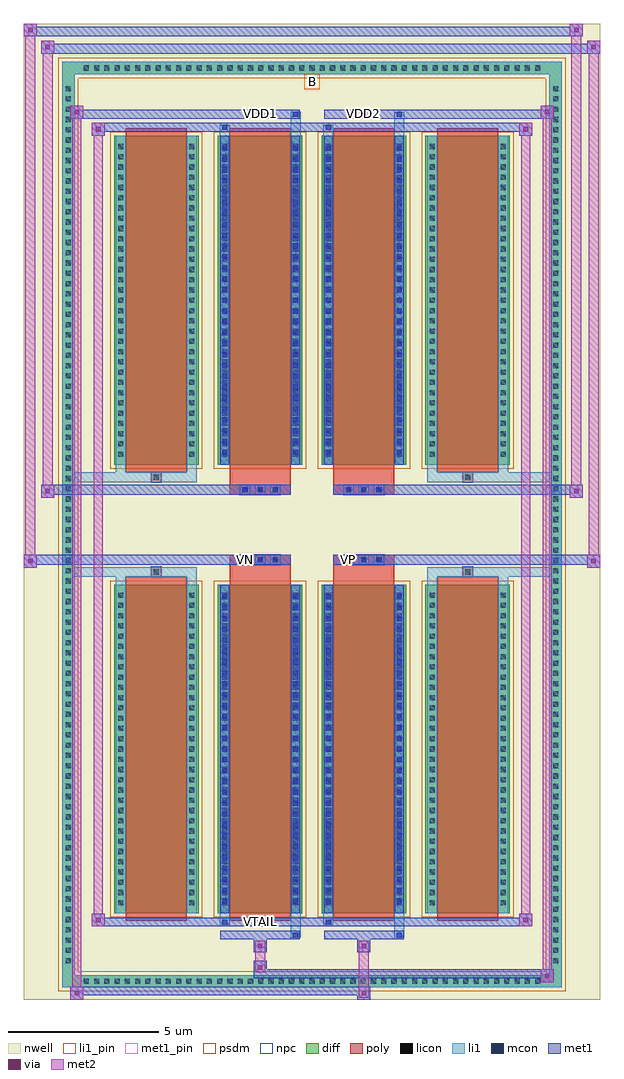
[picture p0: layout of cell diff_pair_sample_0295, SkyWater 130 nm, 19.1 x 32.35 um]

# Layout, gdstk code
import gdstk
lib = gdstk.Library(unit=1e-6, precision=5e-09)
def R(c, l, rs):  # rectangles x0, y0, x1, y1
    for r in rs: c.add(gdstk.rectangle(r[:2], r[2:], *l))
def A(c, l, x, y, w, h, nx, ny, dx, dy):  # array of equal rectangles
    R(c, l, [(x+i*dx, y+j*dy, x+i*dx+w, y+j*dy+h) for i in range(nx) for j in range(ny)])
def P(c, l, *ps):  # polygons
    for p in ps: c.add(gdstk.Polygon(p, *l))
nwell = (64, 20)
diff = (65, 20)
poly = (66, 20)
licon = (66, 44)
li1_pin = (67, 16)
li1 = (67, 20)
mcon = (67, 44)
met1_pin = (68, 16)
met1 = (68, 20)
via = (68, 44)
met2 = (69, 20)
psdm = (94, 20)
npc = (95, 20)

diff_pair_sample_0295 = lib.new_cell('diff_pair_sample_0295')
R(diff_pair_sample_0295, nwell, [(-9.55,-15.74,9.55,16.61), (-6.87,-13.93,-0.01,-0.795), (0.01,-13.93,6.87,-0.795), (-6.87,0.795,-0.01,13.93), (0.01,0.795,6.87,13.93)])
A(diff_pair_sample_0295, diff, -7.685, -15.34, 0.41, 0.41, 45, 2, 0.34, 30.27)
A(diff_pair_sample_0295, diff, -8.28, -14.655, 0.41, 0.41, 1, 86, 0, 0.34)
A(diff_pair_sample_0295, diff, 7.87, -14.655, 0.41, 0.41, 1, 86, 0, 0.34)
A(diff_pair_sample_0295, diff, -6.56, -12.885, 2.8, 10.9, 4, 2, 3.44, 14.87)
R(diff_pair_sample_0295, diff, [(-7.685,-15.34,7.685,-14.93), (-8.28,-14.655,-7.87,14.655), (7.87,-14.655,8.28,14.655), (-7.685,14.93,7.685,15.34)])
P(diff_pair_sample_0295, diff, [(8.28,15.34),(-8.28,15.34),(-8.28,-14.93),(-7.87,-14.93),(-7.87,14.93),(7.87,14.93),(7.87,-14.93),(-7.87,-14.93),(-8.28,-14.93),(-8.28,-15.34),(8.28,-15.34)])
A(diff_pair_sample_0295, poly, -6.17, -13.135, 2.02, 11.4, 4, 2, 3.44, 14.87)
A(diff_pair_sample_0295, poly, -2.385, -1.325, 0.33, 0.33, 3, 2, 0.5, 2.32)
A(diff_pair_sample_0295, poly, 1.055, -1.325, 0.33, 0.33, 3, 2, 0.5, 2.32)
R(diff_pair_sample_0295, poly, [(-5.325,-1.735,-4.995,-1.405), (-5.325,-1.735,-4.995,-1.405), (-2.73,-1.735,-0.71,-1.325), (0.71,-1.735,2.73,-1.325), (4.995,-1.735,5.325,-1.405), (4.995,-1.735,5.325,-1.405), (-2.73,-1.325,-0.71,-0.995), (0.71,-1.325,2.73,-0.995), (-2.73,0.995,-0.71,1.325), (0.71,0.995,2.73,1.325), (-2.73,1.325,-0.71,1.735), (0.71,1.325,2.73,1.735), (-5.325,1.405,-4.995,1.735), (-5.325,1.405,-4.995,1.735), (4.995,1.405,5.325,1.735), (4.995,1.405,5.325,1.735)])
A(diff_pair_sample_0295, licon, -7.565, -15.22, 0.17, 0.17, 45, 2, 0.34, 30.27)
A(diff_pair_sample_0295, licon, -8.16, -14.535, 0.17, 0.17, 1, 86, 0, 0.34)
A(diff_pair_sample_0295, licon, 7.99, -14.535, 0.17, 0.17, 1, 86, 0, 0.34)
A(diff_pair_sample_0295, licon, -6.42, -12.62, 0.17, 0.17, 1, 31, 0, 0.34)
A(diff_pair_sample_0295, licon, -4.07, -12.62, 0.17, 0.17, 1, 31, 0, 0.34)
A(diff_pair_sample_0295, licon, -2.98, -12.62, 0.17, 0.17, 1, 31, 0, 0.34)
A(diff_pair_sample_0295, licon, -0.63, -12.62, 0.17, 0.17, 1, 31, 0, 0.34)
A(diff_pair_sample_0295, licon, 0.46, -12.62, 0.17, 0.17, 1, 31, 0, 0.34)
A(diff_pair_sample_0295, licon, 2.81, -12.62, 0.17, 0.17, 1, 31, 0, 0.34)
A(diff_pair_sample_0295, licon, 3.9, -12.62, 0.17, 0.17, 1, 31, 0, 0.34)
A(diff_pair_sample_0295, licon, 6.25, -12.62, 0.17, 0.17, 1, 31, 0, 0.34)
A(diff_pair_sample_0295, licon, -2.305, -1.245, 0.17, 0.17, 3, 2, 0.5, 2.32)
A(diff_pair_sample_0295, licon, 1.135, -1.245, 0.17, 0.17, 3, 2, 0.5, 2.32)
A(diff_pair_sample_0295, licon, -6.42, 2.25, 0.17, 0.17, 1, 31, 0, 0.34)
A(diff_pair_sample_0295, licon, -4.07, 2.25, 0.17, 0.17, 1, 31, 0, 0.34)
A(diff_pair_sample_0295, licon, -2.98, 2.25, 0.17, 0.17, 1, 31, 0, 0.34)
A(diff_pair_sample_0295, licon, -0.63, 2.25, 0.17, 0.17, 1, 31, 0, 0.34)
A(diff_pair_sample_0295, licon, 0.46, 2.25, 0.17, 0.17, 1, 31, 0, 0.34)
A(diff_pair_sample_0295, licon, 2.81, 2.25, 0.17, 0.17, 1, 31, 0, 0.34)
A(diff_pair_sample_0295, licon, 3.9, 2.25, 0.17, 0.17, 1, 31, 0, 0.34)
A(diff_pair_sample_0295, licon, 6.25, 2.25, 0.17, 0.17, 1, 31, 0, 0.34)
R(diff_pair_sample_0295, licon, [(-5.245,-1.655,-5.075,-1.485), (5.075,-1.655,5.245,-1.485), (-5.245,1.485,-5.075,1.655), (5.075,1.485,5.245,1.655)])
R(diff_pair_sample_0295, li1_pin, [(-0.25,14.43,0.25,14.93)])
A(diff_pair_sample_0295, li1, -7.645, -15.3, 0.33, 0.33, 45, 2, 0.34, 30.27)
A(diff_pair_sample_0295, li1, -8.24, -14.615, 0.33, 0.33, 1, 86, 0, 0.34)
A(diff_pair_sample_0295, li1, 7.91, -14.615, 0.33, 0.33, 1, 86, 0, 0.34)
A(diff_pair_sample_0295, li1, -6.5, -12.7, 0.33, 0.33, 1, 31, 0, 0.34)
A(diff_pair_sample_0295, li1, -4.15, -12.7, 0.33, 0.33, 1, 31, 0, 0.34)
A(diff_pair_sample_0295, li1, -3.06, -12.7, 0.33, 0.33, 1, 31, 0, 0.34)
A(diff_pair_sample_0295, li1, -0.71, -12.7, 0.33, 0.33, 1, 31, 0, 0.34)
A(diff_pair_sample_0295, li1, 0.38, -12.7, 0.33, 0.33, 1, 31, 0, 0.34)
A(diff_pair_sample_0295, li1, 2.73, -12.7, 0.33, 0.33, 1, 31, 0, 0.34)
A(diff_pair_sample_0295, li1, 3.82, -12.7, 0.33, 0.33, 1, 31, 0, 0.34)
A(diff_pair_sample_0295, li1, 6.17, -12.7, 0.33, 0.33, 1, 31, 0, 0.34)
A(diff_pair_sample_0295, li1, -2.98, -12.56, 0.17, 0.17, 1, 29, 0, 0.36)
A(diff_pair_sample_0295, li1, -0.63, -12.56, 0.17, 0.17, 1, 29, 0, 0.36)
A(diff_pair_sample_0295, li1, 0.46, -12.56, 0.17, 0.17, 1, 29, 0, 0.36)
A(diff_pair_sample_0295, li1, 2.81, -12.56, 0.17, 0.17, 1, 29, 0, 0.36)
A(diff_pair_sample_0295, li1, -2.385, -1.325, 0.33, 0.33, 3, 2, 0.5, 2.32)
A(diff_pair_sample_0295, li1, 1.055, -1.325, 0.33, 0.33, 3, 2, 0.5, 2.32)
A(diff_pair_sample_0295, li1, -6.5, 2.17, 0.33, 0.33, 1, 31, 0, 0.34)
A(diff_pair_sample_0295, li1, -4.15, 2.17, 0.33, 0.33, 1, 31, 0, 0.34)
A(diff_pair_sample_0295, li1, -3.06, 2.17, 0.33, 0.33, 1, 31, 0, 0.34)
A(diff_pair_sample_0295, li1, -0.71, 2.17, 0.33, 0.33, 1, 31, 0, 0.34)
A(diff_pair_sample_0295, li1, 0.38, 2.17, 0.33, 0.33, 1, 31, 0, 0.34)
A(diff_pair_sample_0295, li1, 2.73, 2.17, 0.33, 0.33, 1, 31, 0, 0.34)
A(diff_pair_sample_0295, li1, 3.82, 2.17, 0.33, 0.33, 1, 31, 0, 0.34)
A(diff_pair_sample_0295, li1, 6.17, 2.17, 0.33, 0.33, 1, 31, 0, 0.34)
A(diff_pair_sample_0295, li1, -2.98, 2.31, 0.17, 0.17, 1, 29, 0, 0.36)
A(diff_pair_sample_0295, li1, -0.63, 2.31, 0.17, 0.17, 1, 29, 0, 0.36)
A(diff_pair_sample_0295, li1, 0.46, 2.31, 0.17, 0.17, 1, 29, 0, 0.36)
A(diff_pair_sample_0295, li1, 2.81, 2.31, 0.17, 0.17, 1, 29, 0, 0.36)
R(diff_pair_sample_0295, li1, [(-8.28,-15.34,-7.87,-14.93), (-8.28,-15.34,-7.87,-14.93), (-7.87,-15.34,7.87,-14.93), (7.87,-15.34,8.28,-14.93), (7.87,-15.34,8.28,-14.93), (-8.28,-14.93,-7.87,14.93), (7.87,-14.93,8.28,14.93), (-0.71,-13.69,-0.38,-12.885), (-0.63,-13.69,-0.46,-13.52), (2.73,-13.69,3.06,-12.885), (2.81,-13.69,2.98,-13.52), (-3.06,-13.26,-2.73,-12.885), (-2.98,-13.26,-2.81,-13.09), (0.38,-13.26,0.71,-12.885), (0.46,-13.26,0.63,-13.09), (-6.5,-12.885,-6.17,-1.985), (-4.15,-12.885,-3.82,-1.985), (-3.06,-12.885,-2.73,-1.985), (-0.71,-12.885,-0.38,-1.985), (0.38,-12.885,0.71,-1.985), (2.73,-12.885,3.06,-1.985), (3.82,-12.885,4.15,-1.985), (6.17,-12.885,6.5,-1.985), (-2.98,-12.56,-2.81,-2.31), (-0.63,-12.56,-0.46,-2.31), (0.46,-12.56,0.63,-2.31), (2.81,-12.56,2.98,-2.31), (-6.5,-1.985,-6.17,-1.405), (-4.15,-1.985,-3.82,-1.405), (3.82,-1.985,4.15,-1.405), (6.17,-1.985,6.5,-1.405), (-8.28,-1.735,-5.325,-1.405), (-6.5,-1.735,-5.325,-1.405), (-5.325,-1.735,-4.995,-1.405), (-4.995,-1.735,-3.82,-1.405), (3.82,-1.735,4.995,-1.405), (4.995,-1.735,5.325,-1.405), (4.995,-1.735,8.28,-1.405), (5.325,-1.735,6.5,-1.405), (-8.28,1.405,-5.325,1.735), (-6.5,1.405,-5.325,1.735), (-6.5,1.405,-6.17,1.985), (-5.325,1.405,-4.995,1.735), (-4.995,1.405,-3.82,1.735), (-4.15,1.405,-3.82,1.985), (3.82,1.405,4.995,1.735), (3.82,1.405,4.15,1.985), (4.995,1.405,5.325,1.735), (4.995,1.405,8.28,1.735), (5.325,1.405,6.5,1.735), (6.17,1.405,6.5,1.985), (-6.5,1.985,-6.17,12.885), (-4.15,1.985,-3.82,12.885), (-3.06,1.985,-2.73,12.885), (-0.71,1.985,-0.38,12.885), (0.38,1.985,0.71,12.885), (2.73,1.985,3.06,12.885), (3.82,1.985,4.15,12.885), (6.17,1.985,6.5,12.885), (-2.98,2.31,-2.81,12.56), (-0.63,2.31,-0.46,12.56), (0.46,2.31,0.63,12.56), (2.81,2.31,2.98,12.56), (-3.06,12.885,-2.73,13.26), (-0.71,12.885,-0.38,13.69), (0.38,12.885,0.71,13.26), (2.73,12.885,3.06,13.69), (-2.98,13.09,-2.81,13.26), (0.46,13.09,0.63,13.26), (-0.63,13.52,-0.46,13.69), (2.81,13.52,2.98,13.69), (-8.28,14.93,-7.87,15.34), (-8.28,14.93,-7.87,15.34), (-7.87,14.93,7.87,15.34), (7.87,14.93,8.28,15.34), (7.87,14.93,8.28,15.34)])
A(diff_pair_sample_0295, mcon, -2.98, -12.56, 0.17, 0.17, 1, 29, 0, 0.36)
A(diff_pair_sample_0295, mcon, -0.63, -12.56, 0.17, 0.17, 1, 29, 0, 0.36)
A(diff_pair_sample_0295, mcon, 0.46, -12.56, 0.17, 0.17, 1, 29, 0, 0.36)
A(diff_pair_sample_0295, mcon, 2.81, -12.56, 0.17, 0.17, 1, 29, 0, 0.36)
A(diff_pair_sample_0295, mcon, -2.305, -1.245, 0.17, 0.17, 3, 2, 0.5, 2.32)
A(diff_pair_sample_0295, mcon, 1.135, -1.245, 0.17, 0.17, 3, 2, 0.5, 2.32)
A(diff_pair_sample_0295, mcon, -2.98, 2.31, 0.17, 0.17, 1, 29, 0, 0.36)
A(diff_pair_sample_0295, mcon, -0.63, 2.31, 0.17, 0.17, 1, 29, 0, 0.36)
A(diff_pair_sample_0295, mcon, 0.46, 2.31, 0.17, 0.17, 1, 29, 0, 0.36)
A(diff_pair_sample_0295, mcon, 2.81, 2.31, 0.17, 0.17, 1, 29, 0, 0.36)
R(diff_pair_sample_0295, mcon, [(-0.63,-13.69,-0.46,-13.52), (2.81,-13.69,2.98,-13.52), (-2.98,-13.26,-2.81,-13.09), (0.46,-13.26,0.63,-13.09), (-2.98,13.09,-2.81,13.26), (0.46,13.09,0.63,13.26), (-0.63,13.52,-0.46,13.69), (2.81,13.52,2.98,13.69)])
R(diff_pair_sample_0295, met1_pin, [(-1.855,-13.3,-1.585,-13.03), (-2.355,-1.285,-2.085,-1.015), (1.085,-1.285,1.355,-1.015), (-1.855,13.48,-1.585,13.75), (1.585,13.48,1.855,13.75)])
A(diff_pair_sample_0295, met1, -3.04, -12.62, 0.29, 0.29, 1, 29, 0, 0.36)
A(diff_pair_sample_0295, met1, -0.69, -12.62, 0.29, 0.29, 1, 29, 0, 0.36)
A(diff_pair_sample_0295, met1, 0.4, -12.62, 0.29, 0.29, 1, 29, 0, 0.36)
A(diff_pair_sample_0295, met1, 2.75, -12.62, 0.29, 0.29, 1, 29, 0, 0.36)
A(diff_pair_sample_0295, met1, -2.365, -1.305, 0.29, 0.29, 3, 2, 0.5, 2.32)
A(diff_pair_sample_0295, met1, 1.075, -1.305, 0.29, 0.29, 3, 2, 0.5, 2.32)
A(diff_pair_sample_0295, met1, -3.04, 2.25, 0.29, 0.29, 1, 29, 0, 0.36)
A(diff_pair_sample_0295, met1, -0.69, 2.25, 0.29, 0.29, 1, 29, 0, 0.36)
A(diff_pair_sample_0295, met1, 0.4, 2.25, 0.29, 0.29, 1, 29, 0, 0.36)
A(diff_pair_sample_0295, met1, 2.75, 2.25, 0.29, 0.29, 1, 29, 0, 0.36)
R(diff_pair_sample_0295, met1, [(-8.01,-15.74,-7.58,-15.31), (1.505,-15.74,1.935,-15.31), (-8.01,-15.6,1.935,-15.31), (7.58,-15.17,8.01,-14.74), (-1.935,-15.03,8.01,-14.74), (-1.935,-14.89,-1.505,-14.46), (-1.935,-14.18,-1.505,-13.75), (1.505,-14.18,1.935,-13.75), (-3.04,-13.75,-0.4,-13.46), (-0.69,-13.75,-0.4,-13.46), (0.4,-13.75,3.04,-13.46), (2.75,-13.75,3.04,-13.46), (-7.3,-13.32,-6.87,-12.89), (-7.3,-13.32,-3.04,-13.03), (-3.04,-13.32,-2.75,-13.03), (-3.04,-13.32,-0.4,-13.03), (-0.4,-13.32,0.4,-13.03), (0.4,-13.32,0.69,-13.03), (0.4,-13.32,3.04,-13.03), (3.04,-13.32,7.3,-13.03), (6.87,-13.32,7.3,-12.89), (-3.04,-12.885,-2.75,-1.985), (-0.69,-12.885,-0.4,-1.985), (0.4,-12.885,0.69,-1.985), (2.75,-12.885,3.04,-1.985), (-9.55,-1.425,-9.12,-0.995), (9.12,-1.425,9.55,-0.995), (-9.55,-1.325,-0.71,-0.995), (-2.73,-1.325,-0.71,-0.995), (0.71,-1.325,2.73,-0.995), (0.71,-1.325,9.55,-0.995), (-8.98,0.895,-8.55,1.325), (8.55,0.895,8.98,1.325), (-8.98,0.995,-2.73,1.325), (-2.73,0.995,-0.71,1.325), (0.71,0.995,2.73,1.325), (2.73,0.995,8.98,1.325), (-3.04,1.985,-2.75,12.885), (-0.69,1.985,-0.4,12.885), (0.4,1.985,0.69,12.885), (2.75,1.985,3.04,12.885), (-7.3,12.89,-6.87,13.32), (6.87,12.89,7.3,13.32), (-7.3,13.03,-3.04,13.32), (-3.04,13.03,-2.75,13.32), (-3.04,13.03,-0.4,13.32), (-0.4,13.03,0.4,13.32), (0.4,13.03,0.69,13.32), (0.4,13.03,3.04,13.32), (3.04,13.03,7.3,13.32), (-8.01,13.46,-7.58,13.89), (-8.01,13.46,-3.04,13.75), (-3.04,13.46,-0.4,13.75), (-0.69,13.46,-0.4,13.75), (0.4,13.46,3.04,13.75), (2.75,13.46,3.04,13.75), (3.04,13.46,8.01,13.75), (7.58,13.46,8.01,13.89), (-8.98,15.61,-8.55,16.04), (-8.98,15.61,-6.87,15.94), (-6.87,15.61,6.87,15.94), (6.87,15.61,9.55,15.94), (9.12,15.61,9.55,16.04), (-9.55,16.18,-9.12,16.61), (-9.55,16.18,-6.87,16.51), (-6.87,16.18,6.87,16.51), (6.87,16.18,8.98,16.51), (8.55,16.18,8.98,16.61)])
R(diff_pair_sample_0295, via, [(-7.87,-15.6,-7.72,-15.45), (1.645,-15.6,1.795,-15.45), (7.72,-15.03,7.87,-14.88), (-1.795,-14.75,-1.645,-14.6), (-1.795,-14.04,-1.645,-13.89), (1.645,-14.04,1.795,-13.89), (-7.16,-13.18,-7.01,-13.03), (7.01,-13.18,7.16,-13.03), (-9.41,-1.285,-9.26,-1.135), (9.26,-1.285,9.41,-1.135), (-8.84,1.035,-8.69,1.185), (8.69,1.035,8.84,1.185), (-7.16,13.03,-7.01,13.18), (7.01,13.03,7.16,13.18), (-7.87,13.6,-7.72,13.75), (7.72,13.6,7.87,13.75), (-8.84,15.75,-8.69,15.9), (9.26,15.75,9.41,15.9), (-9.41,16.32,-9.26,16.47), (8.69,16.32,8.84,16.47)])
R(diff_pair_sample_0295, met2, [(-8.01,-15.74,-7.58,-15.31), (-7.94,-15.74,-7.65,13.89), (-7.65,-15.74,-7.58,-15.31), (-7.96,-15.69,-7.63,-15.36), (1.555,-15.69,1.885,-15.36), (1.555,-15.36,1.885,-14.13), (7.58,-15.17,8.01,-14.74), (7.65,-15.17,7.94,13.89), (7.94,-15.17,8.01,-14.74), (7.63,-15.12,7.96,-14.79), (-1.885,-14.84,-1.555,-14.51), (-1.885,-14.51,-1.555,-14.13), (-1.885,-14.13,-1.555,-13.8), (1.555,-14.13,1.885,-13.8), (-7.3,-13.32,-6.87,-12.89), (-7.23,-13.32,-6.94,13.32), (-6.94,-13.32,-6.87,-12.89), (6.87,-13.32,7.3,-12.89), (6.94,-13.32,7.23,13.32), (7.23,-13.32,7.3,-12.89), (-7.25,-13.27,-6.92,-12.94), (6.92,-13.27,7.25,-12.94), (-9.55,-1.425,-9.12,-0.995), (-9.5,-1.425,-9.17,16.61), (-9.17,-1.425,-9.12,-0.995), (9.12,-1.425,9.55,-0.995), (9.17,-1.425,9.5,16.04), (9.5,-1.425,9.55,-0.995), (-9.5,-1.375,-9.17,-1.045), (9.17,-1.375,9.5,-1.045), (-8.98,0.895,-8.55,1.325), (-8.93,0.895,-8.6,16.04), (-8.6,0.895,-8.55,1.325), (8.55,0.895,8.98,1.325), (8.6,0.895,8.93,16.61), (8.93,0.895,8.98,1.325), (-8.93,0.945,-8.6,1.275), (8.6,0.945,8.93,1.275), (-7.3,12.89,-6.87,13.32), (-6.94,12.89,-6.87,13.32), (6.87,12.89,7.3,13.32), (7.23,12.89,7.3,13.32), (-7.25,12.94,-6.92,13.27), (6.92,12.94,7.25,13.27), (-8.01,13.46,-7.58,13.89), (-7.65,13.46,-7.58,13.89), (7.58,13.46,8.01,13.89), (7.94,13.46,8.01,13.89), (-7.96,13.51,-7.63,13.84), (7.63,13.51,7.96,13.84), (-8.98,15.61,-8.55,16.04), (-8.6,15.61,-8.55,16.04), (9.12,15.61,9.55,16.04), (9.5,15.61,9.55,16.04), (-8.93,15.66,-8.6,15.99), (9.17,15.66,9.5,15.99), (-9.55,16.18,-9.12,16.61), (-9.17,16.18,-9.12,16.61), (8.55,16.18,8.98,16.61), (8.93,16.18,8.98,16.61), (-9.5,16.23,-9.17,16.56), (8.6,16.23,8.93,16.56)])
A(diff_pair_sample_0295, psdm, -6.69, -13.015, 3.06, 11.16, 4, 2, 3.44, 14.87)
P(diff_pair_sample_0295, psdm, [(8.41,15.47),(-8.41,15.47),(-8.41,-14.8),(-7.74,-14.8),(-7.74,14.8),(7.74,14.8),(7.74,-14.8),(-7.74,-14.8),(-8.41,-14.8),(-8.41,-15.47),(8.41,-15.47)])
A(diff_pair_sample_0295, npc, -2.405, -1.345, 0.37, 0.37, 3, 2, 0.5, 2.32)
A(diff_pair_sample_0295, npc, 1.035, -1.345, 0.37, 0.37, 3, 2, 0.5, 2.32)
R(diff_pair_sample_0295, npc, [(-5.345,-1.755,-4.975,-1.385), (4.975,-1.755,5.345,-1.385), (-2.405,-1.345,-1.535,-0.975), (-2.405,-1.345,-1.535,-0.975), (-1.905,-1.345,-1.035,-0.975), (-1.905,-1.345,-1.035,-0.975), (1.035,-1.345,1.905,-0.975), (1.035,-1.345,1.905,-0.975), (1.535,-1.345,2.405,-0.975), (1.535,-1.345,2.405,-0.975), (-2.405,0.975,-1.535,1.345), (-2.405,0.975,-1.535,1.345), (-1.905,0.975,-1.035,1.345), (-1.905,0.975,-1.035,1.345), (1.035,0.975,1.905,1.345), (1.035,0.975,1.905,1.345), (1.535,0.975,2.405,1.345), (1.535,0.975,2.405,1.345), (-5.345,1.385,-4.975,1.755), (4.975,1.385,5.345,1.755)])
diff_pair_sample_0295.add(gdstk.Label('VTAIL', (-1.72,-13.165), layer=68, texttype=5))
diff_pair_sample_0295.add(gdstk.Label('VN', (-2.22,-1.15), layer=68, texttype=5))
diff_pair_sample_0295.add(gdstk.Label('VP', (1.22,-1.15), layer=68, texttype=5))
diff_pair_sample_0295.add(gdstk.Label('B', (0,14.68), layer=67, texttype=5))
diff_pair_sample_0295.add(gdstk.Label('VDD2', (1.72,13.615), layer=68, texttype=5))
diff_pair_sample_0295.add(gdstk.Label('VDD1', (-1.72,13.615), layer=68, texttype=5))

lib.write_gds('diff_pair_sample_0295.gds')
